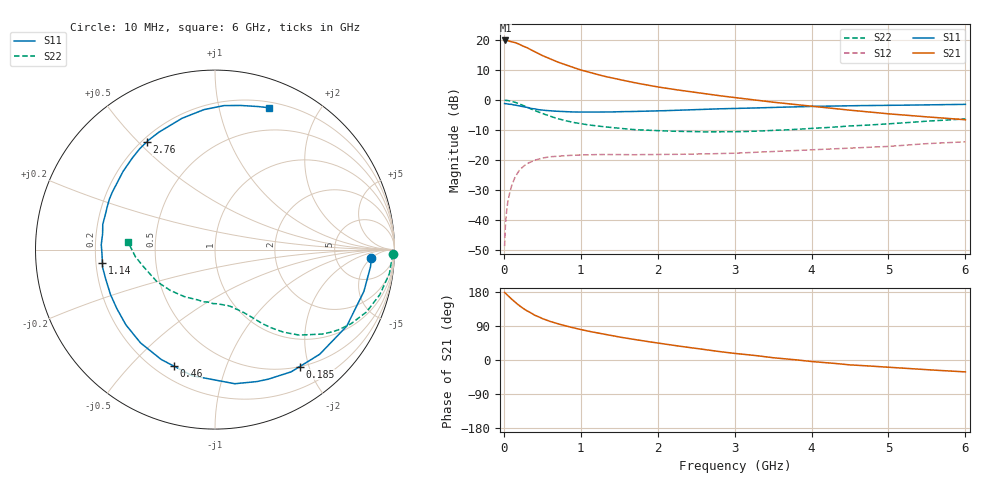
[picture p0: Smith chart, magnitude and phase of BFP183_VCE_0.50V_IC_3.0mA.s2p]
! Infineon Technologies  Discrete & RF Semiconductors
! BFP183
! VCE = 0.50V,  IC =  3.0 mA
! Common Emitter S-Parameters:  Jan 2016
# GHz  S  MA  R  50
!  f  S11  S21  S12  S22
! GHz  MAG  ANG  MAG  ANG  MAG  ANG  MAG  ANG
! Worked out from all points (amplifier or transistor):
!   210 points, 10 MHz to 6 GHz, reference 50 ohm
!   highest |S21| = 19.8 dB at 20 MHz (marker M1)
!   |S21| within 3 dB of that: start of sweep to 344.7 MHz
!   unconditionally stable (mu >= 1): 1.668 GHz to end of sweep
!   at 185 MHz: K = 0.14, MSG = 21.4 dB, |S12| = -24.0 dB
!   at 1.52 GHz: K = 0.92, MSG = 12.4 dB, |S12| = -18.2 dB
!   at 6 GHz: K = 1.20, MAG = 1.0 dB, |S12| = -13.9 dB
!   S11 on the Smith chart (normalised r, x): 10 MHz: 13, -5; 185 MHz: 0.50, -1.85; 460 MHz: 0.27, -0.67; 1.14 GHz: 0.23, -0.05; 2.76 GHz: 0.22, +0.53; 6 GHz: 0.26, +1.42
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0.01  0.8722 -3.1  9.685 178.4  0.0037 84.6  0.9921 -1.5
0.02  0.8718 -6.3  9.786 176.7  0.008 85.6  0.9869 -3.1
0.05  0.8616 -15.7  9.704 170.2  0.0194 83.0  0.9806 -7.9
0.1  0.8489 -30.2  9.311 160.9  0.0368 73.6  0.952 -15.3
0.15  0.8248 -45.0  8.997 151.6  0.0532 65.2  0.9126 -22.4
0.185  0.8046 -54.1  8.613 146.1  0.0629 60.4  0.878 -26.5
0.24  0.7804 -67.7  7.992 137.8  0.0756 53.6  0.8234 -32.7
0.3  0.7554 -81.6  7.43 129.9  0.0869 47.7  0.761 -38.2
0.4  0.7139 -100.3  6.383 118.3  0.0995 39.3  0.6689 -45.4
0.46  0.6881 -109.6  5.832 113.3  0.1046 35.4  0.6248 -48.3
0.6  0.665 -128.6  4.868 101.9  0.1136 28.5  0.5379 -54.2
0.7  0.6499 -139.8  4.283 95.6  0.1165 24.7  0.4897 -57.4
0.8  0.6381 -149.0  3.861 89.9  0.1186 21.8  0.4533 -59.7
1.02  0.6307 -165.9  3.108 79.5  0.1222 17.1  0.3995 -64.0
1.14  0.6314 -173.4  2.821 74.4  0.1234 15.2  0.3798 -66.2
1.5  0.6408 167.4  2.188 60.6  0.123 12.0  0.337 -72.7
2.02  0.6599 145.7  1.635 44.1  0.1242 10.7  0.3087 -82.7
2.76  0.7105 122.3  1.199 23.4  0.1281 11.3  0.297 -101.5
3.1  0.7282 113.3  1.06 15.4  0.1319 11.8  0.298 -111.6
4.1  0.7853 92.8  0.765 -5.6  0.1498 12.1  0.3423 -140.6
5.1  0.8177 78.8  0.575 -20.4  0.1727 11.1  0.4087 -166.3
6  0.8463 69.0  0.469 -31.4  0.2015 6.0  0.4853 175.2
